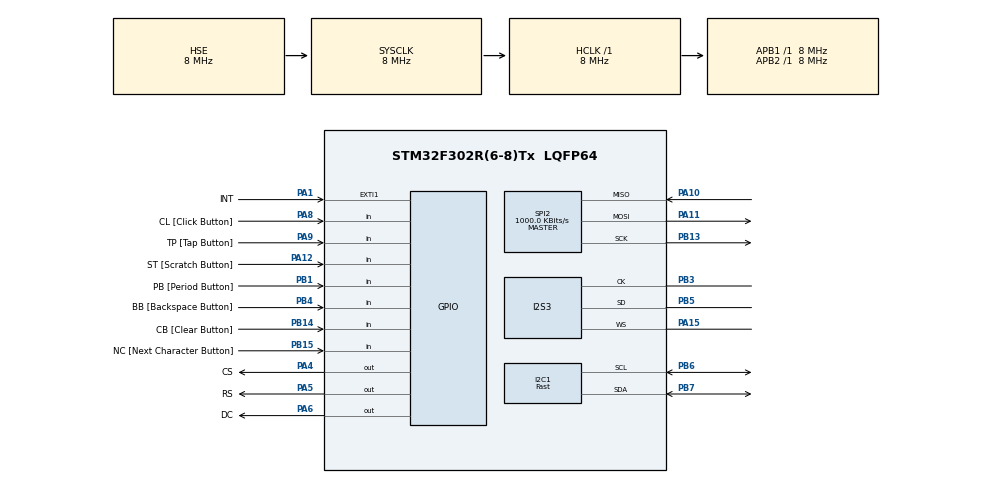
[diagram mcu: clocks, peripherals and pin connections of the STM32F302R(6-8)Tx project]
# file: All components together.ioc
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Dma.Request0=SPI3_RX
Dma.SPI3_RX.0.Direction=DMA_PERIPH_TO_MEMORY
Dma.SPI3_RX.0.Instance=DMA1_Channel2
Dma.SPI3_RX.0.MemDataAlignment=DMA_MDATAALIGN_WORD
Dma.SPI3_RX.0.MemInc=DMA_MINC_ENABLE
Dma.SPI3_RX.0.Mode=DMA_CIRCULAR
Dma.SPI3_RX.0.PeriphDataAlignment=DMA_PDATAALIGN_WORD
Dma.SPI3_RX.0.PeriphInc=DMA_PINC_DISABLE
Dma.SPI3_RX.0.Priority=DMA_PRIORITY_LOW
I2C1.I2C_Speed_Mode=I2C_Fast
I2C1.Timing=0x0010020A
I2S3.AudioFreq=I2S_AUDIOFREQ_32K
I2S3.DataFormat=I2S_DATAFORMAT_16B_EXTENDED
I2S3.ErrorAudioFreq=-2.34 %
I2S3.FullDuplexMode=I2S_FULLDUPLEXMODE_DISABLE
I2S3.Instance=SPI$Index
I2S3.Mode=I2S_MODE_MASTER_RX
I2S3.RealAudioFreq=31.25 KHz
I2S3.VirtualMode=I2S_MODE_MASTER
Mcu.Family=STM32F3
Mcu.Name=STM32F302R(6-8)Tx
Mcu.Package=LQFP64
NVIC.DMA1_Channel2_IRQn=true\:0\:0\:false\:false\:true\:false\:true\:true
NVIC.EXTI1_IRQn=true\:0\:0\:false\:false\:true\:true\:true\:true
NVIC.PriorityGroup=NVIC_PRIORITYGROUP_4
NVIC.TIM1_UP_TIM16_IRQn=true\:0\:0\:false\:false\:true\:true\:true\:true
NVIC.TIM2_IRQn=true\:0\:0\:false\:false\:true\:true\:true\:true
NVIC.TIM6_DAC_IRQn=true\:0\:0\:false\:false\:true\:true\:true\:true
PA1.GPIO_Label=INT
PA1.Signal=GPXTI1
PA10.Mode=Full_Duplex_Master
PA10.Signal=SPI2_MISO
PA11.Mode=Full_Duplex_Master
PA11.Signal=SPI2_MOSI
PA12.GPIO_Label=ST [Scratch Button]
PA12.GPIO_PuPd=GPIO_PULLUP
PA12.Signal=GPIO_Input
PA13.Mode=Serial_Wire
PA13.Signal=SYS_JTMS-SWDIO
PA14.Mode=Serial_Wire
PA14.Signal=SYS_JTCK-SWCLK
PA15.Mode=Half_Duplex_Master
PA15.Signal=I2S3_WS
PA4.GPIO_Label=CS
PA4.Signal=GPIO_Output
PA5.GPIO_Label=RS
PA5.Signal=GPIO_Output
PA6.GPIO_Label=DC
PA6.Signal=GPIO_Output
PA8.GPIO_Label=CL [Click Button]
PA8.GPIO_PuPd=GPIO_PULLUP
PA8.Signal=GPIO_Input
PA9.GPIO_Label=TP [Tap Button]
PA9.GPIO_PuPd=GPIO_PULLUP
PA9.Signal=GPIO_Input
PB1.GPIO_Label=PB [Period Button]
PB1.GPIO_PuPd=GPIO_PULLUP
PB1.Signal=GPIO_Input
PB13.Mode=Full_Duplex_Master
PB13.Signal=SPI2_SCK
PB14.GPIO_Label=CB [Clear Button]
PB14.GPIO_PuPd=GPIO_PULLUP
PB14.Signal=GPIO_Input
PB15.GPIO_Label=NC [Next Character Button]
PB15.GPIO_PuPd=GPIO_PULLUP
PB15.Signal=GPIO_Input
PB3.Mode=Half_Duplex_Master
PB3.Signal=I2S3_CK
PB4.GPIO_Label=BB [Backspace Button]
PB4.GPIO_PuPd=GPIO_PULLUP
PB4.Signal=GPIO_Input
PB5.Mode=Half_Duplex_Master
PB5.Signal=I2S3_SD
PB6.Mode=I2C
PB6.Signal=I2C1_SCL
PB7.Mode=I2C
PB7.Signal=I2C1_SDA
PF0-OSC_IN.Mode=HSE-External-Oscillator
PF0-OSC_IN.Signal=RCC_OSC_IN
PF1-OSC_OUT.Mode=HSE-External-Oscillator
PF1-OSC_OUT.Signal=RCC_OSC_OUT
ProjectManager.HeapSize=0x200
ProjectManager.StackSize=0x400
ProjectManager.TargetToolchain=STM32CubeIDE
RCC.AHBFreq_Value=8000000
RCC.APB1Freq_Value=8000000
RCC.APB1TimFreq_Value=8000000
RCC.APB2Freq_Value=8000000
RCC.APB2TimFreq_Value=8000000
RCC.CortexFreq_Value=8000000
RCC.HCLKFreq_Value=8000000
RCC.HSE_VALUE=8000000
RCC.HSI_VALUE=8000000
RCC.LSE_VALUE=32768
RCC.PLLSourceVirtual=RCC_PLLSOURCE_HSE
RCC.SYSCLKFreq_VALUE=8000000
RCC.SYSCLKSourceVirtual=RCC_SYSCLKSOURCE_HSE
RCC.USBFreq_Value=16000000
SPI2.BaudRatePrescaler=SPI_BAUDRATEPRESCALER_8
SPI2.CalculateBaudRate=1000.0 KBits/s
SPI2.DataSize=SPI_DATASIZE_8BIT
SPI2.Direction=SPI_DIRECTION_2LINES
SPI2.Mode=SPI_MODE_MASTER
SPI2.NSSPMode=SPI_NSS_PULSE_DISABLE
SPI2.VirtualType=VM_MASTER
TIM16.Period=4999
TIM16.Prescaler=1599
TIM2.Period=2499
TIM2.Prescaler=15
TIM6.Period=2499
TIM6.Prescaler=15
VP_TIM16_VS_ClockSourceINT.Mode=Enable_Timer
VP_TIM2_VS_ClockSourceINT.Mode=Internal
VP_TIM6_VS_ClockSourceINT.Mode=Enable_Timer
board=custom

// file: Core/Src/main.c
/* USER CODE BEGIN Header */
/**
  ******************************************************************************
  * @file           : main.c
  * @brief          : Main program body
  ******************************************************************************
  * @attention
  *
  * Copyright (c) 2026 STMicroelectronics.
  * All rights reserved.
  *
  * This software is licensed under terms that can be found in the LICENSE file
  * in the root directory of this software component.
  * If no LICENSE file comes with this software, it is provided AS-IS.
  *
  ******************************************************************************
  */
/* USER CODE END Header */
#include "main.h"

/* USER CODE BEGIN Includes */
#include "ILI9341.h"
#include "code_tree.h"
#include "MTCH6102.h"
#include "arm_math.h"

//#include "stdio.h"
/* USER CODE END Includes */

/* USER CODE BEGIN PD */
#define FFT_LENGTH			256
/* USER CODE END PD */

I2C_HandleTypeDef hi2c1;

I2S_HandleTypeDef hi2s3;
DMA_HandleTypeDef hdma_spi3_rx;

SPI_HandleTypeDef hspi2;

TIM_HandleTypeDef htim2;
TIM_HandleTypeDef htim6;
TIM_HandleTypeDef htim16;

/* USER CODE BEGIN PV */
ILI9341_t ili9341;
trie_node* travel;
mtch6102_t mtch6102;

arm_rfft_fast_instance_f32 fft_inst;
int32_t input_dma[FFT_LENGTH * 4];
/* USER CODE END PV */

void SystemClock_Config(void);
static void MX_GPIO_Init(void);
static void MX_DMA_Init(void);
static void MX_SPI2_Init(void);
static void MX_TIM2_Init(void);
static void MX_I2C1_Init(void);
static void MX_I2S3_Init(void);
static void MX_TIM6_Init(void);
static void MX_TIM16_Init(void);

int main(void)
{

  /* MCU Configuration--------------------------------------------------------*/

  /* Reset of all peripherals, Initializes the Flash interface and the Systick. */
  HAL_Init();

  /* Configure the system clock */
  SystemClock_Config();

  /* Initialize all configured peripherals */
  MX_GPIO_Init();
  MX_DMA_Init();
  MX_SPI2_Init();
  MX_TIM2_Init();
  MX_I2C1_Init();
  MX_I2S3_Init();
  MX_TIM6_Init();
  MX_TIM16_Init();
  /* USER CODE BEGIN 2 */
  ILI9341_Init (&ili9341, &hspi2, CS_GPIO_Port, CS_Pin, RS_GPIO_Port, RS_Pin, DC_GPIO_Port, DC_Pin);
  travel = Tree_Init ();
  MTCH6102_Init (&mtch6102, &hi2c1);
  arm_rfft_fast_init_f32 (&fft_inst, FFT_LENGTH);

  HAL_NVIC_SetPriority (TIM2_IRQn, 0, 0);
  HAL_NVIC_EnableIRQ (TIM2_IRQn);
  HAL_TIM_Base_Start_IT (&htim2);

  HAL_NVIC_SetPriority (TIM6_DAC_IRQn, 0, 0);
  HAL_NVIC_EnableIRQ (TIM6_DAC_IRQn);
  HAL_TIM_Base_Start_IT (&htim6);

  HAL_NVIC_SetPriority (TIM1_UP_TIM16_IRQn, 0, 0);
  HAL_NVIC_EnableIRQ (TIM1_UP_TIM16_IRQn);

  HAL_I2S_Receive_DMA (&hi2s3, (uint16_t*) input_dma, FFT_LENGTH * 4);
  /* USER CODE END 2 */

  /* Infinite loop */
  while (1)
  {

  }
}

void SystemClock_Config(void)
{
  RCC_OscInitTypeDef RCC_OscInitStruct = {0};
  RCC_ClkInitTypeDef RCC_ClkInitStruct = {0};
  RCC_PeriphCLKInitTypeDef PeriphClkInit = {0};

  /** Initializes the RCC Oscillators according to the specified parameters
  * in the RCC_OscInitTypeDef structure.
  */
  RCC_OscInitStruct.OscillatorType = RCC_OSCILLATORTYPE_HSI|RCC_OSCILLATORTYPE_HSE;
  RCC_OscInitStruct.HSEState = RCC_HSE_ON;
  RCC_OscInitStruct.HSIState = RCC_HSI_ON;
  RCC_OscInitStruct.HSICalibrationValue = RCC_HSICALIBRATION_DEFAULT;
  RCC_OscInitStruct.PLL.PLLState = RCC_PLL_NONE;
  if (HAL_RCC_OscConfig(&RCC_OscInitStruct) != HAL_OK)
  {
    Error_Handler();
  }

  /** Initializes the CPU, AHB and APB buses clocks
  */
  RCC_ClkInitStruct.ClockType = RCC_CLOCKTYPE_HCLK|RCC_CLOCKTYPE_SYSCLK
                              |RCC_CLOCKTYPE_PCLK1|RCC_CLOCKTYPE_PCLK2;
  RCC_ClkInitStruct.SYSCLKSource = RCC_SYSCLKSOURCE_HSE;
  RCC_ClkInitStruct.AHBCLKDivider = RCC_SYSCLK_DIV1;
  RCC_ClkInitStruct.APB1CLKDivider = RCC_HCLK_DIV1;
  RCC_ClkInitStruct.APB2CLKDivider = RCC_HCLK_DIV1;

  if (HAL_RCC_ClockConfig(&RCC_ClkInitStruct, FLASH_LATENCY_0) != HAL_OK)
  {
    Error_Handler();
  }
  PeriphClkInit.PeriphClockSelection = RCC_PERIPHCLK_I2C1|RCC_PERIPHCLK_TIM16;
  PeriphClkInit.I2c1ClockSelection = RCC_I2C1CLKSOURCE_HSI;
  PeriphClkInit.Tim16ClockSelection = RCC_TIM16CLK_HCLK;
  if (HAL_RCCEx_PeriphCLKConfig(&PeriphClkInit) != HAL_OK)
  {
    Error_Handler();
  }
}

static void MX_I2C1_Init(void)
{

  hi2c1.Instance = I2C1;
  hi2c1.Init.Timing = 0x0010020A;
  hi2c1.Init.OwnAddress1 = 0;
  hi2c1.Init.AddressingMode = I2C_ADDRESSINGMODE_7BIT;
  hi2c1.Init.DualAddressMode = I2C_DUALADDRESS_DISABLE;
  hi2c1.Init.OwnAddress2 = 0;
  hi2c1.Init.OwnAddress2Masks = I2C_OA2_NOMASK;
  hi2c1.Init.GeneralCallMode = I2C_GENERALCALL_DISABLE;
  hi2c1.Init.NoStretchMode = I2C_NOSTRETCH_DISABLE;
  if (HAL_I2C_Init(&hi2c1) != HAL_OK)
  {
    Error_Handler();
  }

  /** Configure Analogue filter
  */
  if (HAL_I2CEx_ConfigAnalogFilter(&hi2c1, I2C_ANALOGFILTER_ENABLE) != HAL_OK)
  {
    Error_Handler();
  }

  /** Configure Digital filter
  */
  if (HAL_I2CEx_ConfigDigitalFilter(&hi2c1, 0) != HAL_OK)
  {
    Error_Handler();
  }

}

static void MX_I2S3_Init(void)
{

  hi2s3.Instance = SPI3;
  hi2s3.Init.Mode = I2S_MODE_MASTER_RX;
  hi2s3.Init.Standard = I2S_STANDARD_PHILIPS;
  hi2s3.Init.DataFormat = I2S_DATAFORMAT_16B_EXTENDED;
  hi2s3.Init.MCLKOutput = I2S_MCLKOUTPUT_DISABLE;
  hi2s3.Init.AudioFreq = I2S_AUDIOFREQ_32K;
  hi2s3.Init.CPOL = I2S_CPOL_LOW;
  hi2s3.Init.ClockSource = I2S_CLOCK_SYSCLK;
  hi2s3.Init.FullDuplexMode = I2S_FULLDUPLEXMODE_DISABLE;
  if (HAL_I2S_Init(&hi2s3) != HAL_OK)
  {
    Error_Handler();
  }

}

static void MX_SPI2_Init(void)
{

  /* SPI2 parameter configuration*/
  hspi2.Instance = SPI2;
  hspi2.Init.Mode = SPI_MODE_MASTER;
  hspi2.Init.Direction = SPI_DIRECTION_2LINES;
  hspi2.Init.DataSize = SPI_DATASIZE_8BIT;
  hspi2.Init.CLKPolarity = SPI_POLARITY_LOW;
  hspi2.Init.CLKPhase = SPI_PHASE_1EDGE;
  hspi2.Init.NSS = SPI_NSS_SOFT;
  hspi2.Init.BaudRatePrescaler = SPI_BAUDRATEPRESCALER_8;
  hspi2.Init.FirstBit = SPI_FIRSTBIT_MSB;
  hspi2.Init.TIMode = SPI_TIMODE_DISABLE;
  hspi2.Init.CRCCalculation = SPI_CRCCALCULATION_DISABLE;
  hspi2.Init.CRCPolynomial = 7;
  hspi2.Init.CRCLength = SPI_CRC_LENGTH_DATASIZE;
  hspi2.Init.NSSPMode = SPI_NSS_PULSE_DISABLE;
  if (HAL_SPI_Init(&hspi2) != HAL_OK)
  {
    Error_Handler();
  }

}

static void MX_TIM2_Init(void)
{

  TIM_ClockConfigTypeDef sClockSourceConfig = {0};
  TIM_MasterConfigTypeDef sMasterConfig = {0};

  htim2.Instance = TIM2;
  htim2.Init.Prescaler = 15;
  htim2.Init.CounterMode = TIM_COUNTERMODE_UP;
  htim2.Init.Period = 2499;
  htim2.Init.ClockDivision = TIM_CLOCKDIVISION_DIV1;
  htim2.Init.AutoReloadPreload = TIM_AUTORELOAD_PRELOAD_DISABLE;
  if (HAL_TIM_Base_Init(&htim2) != HAL_OK)
  {
    Error_Handler();
  }
  sClockSourceConfig.ClockSource = TIM_CLOCKSOURCE_INTERNAL;
  if (HAL_TIM_ConfigClockSource(&htim2, &sClockSourceConfig) != HAL_OK)
  {
    Error_Handler();
  }
  sMasterConfig.MasterOutputTrigger = TIM_TRGO_RESET;
  sMasterConfig.MasterSlaveMode = TIM_MASTERSLAVEMODE_DISABLE;
  if (HAL_TIMEx_MasterConfigSynchronization(&htim2, &sMasterConfig) != HAL_OK)
  {
    Error_Handler();
  }

}

static void MX_TIM6_Init(void)
{

  TIM_MasterConfigTypeDef sMasterConfig = {0};

  htim6.Instance = TIM6;
  htim6.Init.Prescaler = 15;
  htim6.Init.CounterMode = TIM_COUNTERMODE_UP;
  htim6.Init.Period = 2499;
  htim6.Init.AutoReloadPreload = TIM_AUTORELOAD_PRELOAD_DISABLE;
  if (HAL_TIM_Base_Init(&htim6) != HAL_OK)
  {
    Error_Handler();
  }
  sMasterConfig.MasterOutputTrigger = TIM_TRGO_RESET;
  sMasterConfig.MasterSlaveMode = TIM_MASTERSLAVEMODE_DISABLE;
  if (HAL_TIMEx_MasterConfigSynchronization(&htim6, &sMasterConfig) != HAL_OK)
  {
    Error_Handler();
  }

}

static void MX_TIM16_Init(void)
{

  htim16.Instance = TIM16;
  htim16.Init.Prescaler = 1599;
  htim16.Init.CounterMode = TIM_COUNTERMODE_UP;
  htim16.Init.Period = 4999;
  htim16.Init.ClockDivision = TIM_CLOCKDIVISION_DIV1;
  htim16.Init.RepetitionCounter = 0;
  htim16.Init.AutoReloadPreload = TIM_AUTORELOAD_PRELOAD_DISABLE;
  if (HAL_TIM_Base_Init(&htim16) != HAL_OK)
  {
    Error_Handler();
  }

}

static void MX_DMA_Init(void)
{

  /* DMA controller clock enable */
  __HAL_RCC_DMA1_CLK_ENABLE();

  /* DMA interrupt init */
  /* DMA1_Channel2_IRQn interrupt configuration */
  HAL_NVIC_SetPriority(DMA1_Channel2_IRQn, 0, 0);
  HAL_NVIC_EnableIRQ(DMA1_Channel2_IRQn);

}

static void MX_GPIO_Init(void)
{
  GPIO_InitTypeDef GPIO_InitStruct = {0};

  /* GPIO Ports Clock Enable */
  __HAL_RCC_GPIOF_CLK_ENABLE();
  __HAL_RCC_GPIOA_CLK_ENABLE();
  __HAL_RCC_GPIOB_CLK_ENABLE();

  /*Configure GPIO pin Output Level */
  HAL_GPIO_WritePin(GPIOA, CS_Pin|RS_Pin|DC_Pin, GPIO_PIN_RESET);

  /*Configure GPIO pin : INT_Pin */
  GPIO_InitStruct.Pin = INT_Pin;
  GPIO_InitStruct.Mode = GPIO_MODE_IT_RISING;
  GPIO_InitStruct.Pull = GPIO_NOPULL;
  HAL_GPIO_Init(INT_GPIO_Port, &GPIO_InitStruct);

  /*Configure GPIO pins : CS_Pin RS_Pin DC_Pin */
  GPIO_InitStruct.Pin = CS_Pin|RS_Pin|DC_Pin;
  GPIO_InitStruct.Mode = GPIO_MODE_OUTPUT_PP;
  GPIO_InitStruct.Pull = GPIO_NOPULL;
  GPIO_InitStruct.Speed = GPIO_SPEED_FREQ_LOW;
  HAL_GPIO_Init(GPIOA, &GPIO_InitStruct);

  /*Configure GPIO pins : PB_Pin CB_Pin NC_Pin BB_Pin */
  GPIO_InitStruct.Pin = PB_Pin|CB_Pin|NC_Pin|BB_Pin;
  GPIO_InitStruct.Mode = GPIO_MODE_INPUT;
  GPIO_InitStruct.Pull = GPIO_PULLUP;
  HAL_GPIO_Init(GPIOB, &GPIO_InitStruct);

  /*Configure GPIO pins : CL_Pin TP_Pin ST_Pin */
  GPIO_InitStruct.Pin = CL_Pin|TP_Pin|ST_Pin;
  GPIO_InitStruct.Mode = GPIO_MODE_INPUT;
  GPIO_InitStruct.Pull = GPIO_PULLUP;
  HAL_GPIO_Init(GPIOA, &GPIO_InitStruct);

  /* EXTI interrupt init*/
  HAL_NVIC_SetPriority(EXTI1_IRQn, 0, 0);
  HAL_NVIC_EnableIRQ(EXTI1_IRQn);

}

void Error_Handler(void)
{
  __disable_irq();
  while (1)
  {
  }
}
